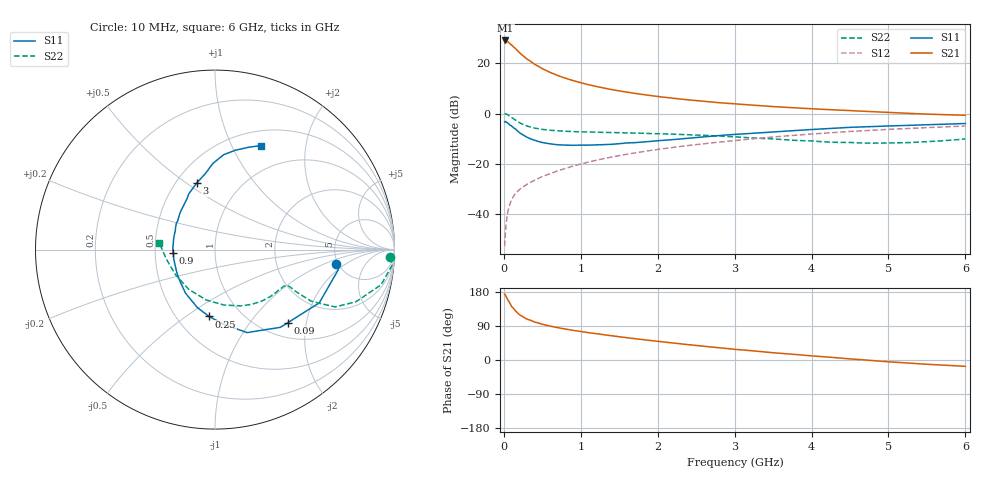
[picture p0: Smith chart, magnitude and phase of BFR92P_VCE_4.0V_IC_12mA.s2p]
! Infineon Technologies  Discrete & RF Semiconductors
! BFR92P
! VCE =  4.0 V,  IC =  12 mA
! Common Emitter S-Parameters:  Apr 2014
# GHz  S  MA  R  50
!  f  S11  S21  S12  S22
! GHz  MAG  ANG  MAG  ANG  MAG  ANG  MAG  ANG
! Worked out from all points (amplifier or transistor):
!   77 points, 10 MHz to 6 GHz, reference 50 ohm
!   highest |S21| = 29.1 dB at 20 MHz (marker M1)
!   |S21| within 3 dB of that: start of sweep to 143 MHz
!   unconditionally stable (mu >= 1): 654 MHz to 2.428 GHz
!   at 130 MHz: K = 0.43, MSG = 29.6 dB, |S12| = -32.8 dB
!   at 2.2 GHz: K = 1.02, MAG = 9.0 dB, |S12| = -13.5 dB
!   at 6 GHz: K = 0.87, MSG = 2.1 dB, |S12| = -5.0 dB
!   S11 on the Smith chart (normalised r, x): 10 MHz: 4.79, -1.48; 90 MHz: 1.30, -1.57; 250 MHz: 0.71, -0.62; 900 MHz: 0.62, -0.02; 3 GHz: 0.63, +0.55; 6 GHz: 0.67, +1.30
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0.01  0.6807 -7.0  28.18 174.0  0.0023 83.8  0.9742 -2.5
0.02  0.6959 -9.3  28.35 171.3  0.0042 85.8  0.9918 -4.9
0.05  0.6522 -27.1  27.06 159.3  0.0109 77.4  0.9456 -12.0
0.09  0.5754 -44.9  23.67 145.7  0.0175 70.7  0.8563 -18.6
0.1  0.5661 -49.9  23.07 141.7  0.0192 69.8  0.8359 -20.4
0.15  0.4959 -68.8  19.65 129.8  0.0256 66.6  0.7416 -25.5
0.2  0.419 -83.4  16.4 120.1  0.0304 64.2  0.6597 -27.1
0.25  0.3738 -95.1  14.03 113.8  0.0347 64.6  0.6075 -28.2
0.3  0.3382 -106.7  12.15 108.0  0.039 64.1  0.5629 -27.9
0.4  0.2934 -124.0  9.547 100.2  0.047 65.1  0.5117 -27.5
0.5  0.2647 -136.9  7.805 94.4  0.0557 66.9  0.4832 -26.8
0.6  0.2493 -148.2  6.591 89.6  0.0635 67.4  0.465 -26.4
0.7  0.2389 -158.3  5.707 85.4  0.0724 68.0  0.4536 -26.4
0.9  0.2334 -175.7  4.518 78.2  0.0901 68.4  0.4369 -27.7
1.1  0.2349 172.1  3.74 72.2  0.1081 68.3  0.4299 -29.6
1.5  0.2511 151.0  2.815 61.4  0.1454 66.3  0.4153 -35.2
2.1  0.2947 128.1  2.095 47.1  0.2021 61.7  0.3921 -45.5
3  0.3839 105.5  1.557 28.2  0.2898 53.1  0.3443 -65.6
3.1  0.3922 103.6  1.518 26.6  0.2998 51.7  0.3362 -68.4
4.1  0.4898 90.0  1.221 9.4  0.4 40.2  0.2772 -104.4
5.1  0.5708 77.2  1.035 -6.0  0.491 26.9  0.2606 -151.8
6  0.6329 66.3  0.923 -16.7  0.5648 14.7  0.3118 173.5
